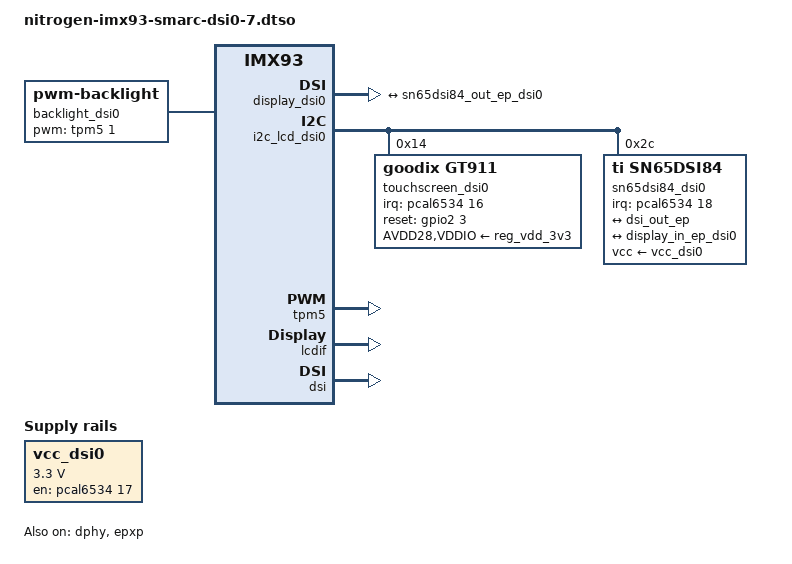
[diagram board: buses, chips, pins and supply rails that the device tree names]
// SPDX-License-Identifier: (GPL-2.0-or-later OR MIT)
/*
 * Copyright 2024 Ezurio
 */

/dts-v1/;
/plugin/;

#include <dt-bindings/gpio/gpio.h>
#include <dt-bindings/interrupt-controller/irq.h>
#include "imx93-pinfunc.h"

#include "nitrogen-imx93-bd-panel.dtsi"

&{/} {
	backlight_dsi0: backlight-dsi0 {
		brightness-levels = <0 1 2 3 4 5 6 7 8 9 10>;
		compatible = "pwm-backlight";
		default-brightness-level = <8>;

		pwms = <&tpm5 1 30000 0>;	/* 33.3 KHz */
	};

	display_dsi0: display-dsi0 {
		compatible = "panel-lvds";
		data-mapping = "vesa-24";

		backlight = <&backlight_dsi0>;

		width-mm = <150>;
		height-mm = <94>;

		panel-timing {
			BD_PANEL_TIMING
		};

		port {
			display_in_ep_dsi0: endpoint {
				remote-endpoint = <&sn65dsi84_out_ep_dsi0>;
			};
		};
	};

	vcc_dsi0: regulator-vcc-dsi0 {
		compatible = "regulator-fixed";
		regulator-name = "vcc_dsi0";
		regulator-min-microvolt = <3300000>;
		regulator-max-microvolt = <3300000>;

		gpios = <&pcal6534 17 GPIO_ACTIVE_HIGH>;
		enable-active-high;

		// This delay need to account for DSI clock startup time
		// SN65DSI84 enables PLL on enable phase and waits for it to lock on 
		// DSI clock, but this clock just started a moment ago, so it is not 
		// yet stable, as such PLL cannot lock on it.
		startup-delay-us = <30000>;
	};

	display-subsystem {
		status = "okay";
	};
};

&dsi_out_ep {
	remote-endpoint = <&sn65dsi84_in_ep_dsi0>;
};

&i2c_lcd_dsi0 {
	#address-cells = <1>;
	#size-cells = <0>;

	touchscreen_dsi0: touchscreen-dsi0@14 {
		compatible = "goodix,gt911";
		reg = <0x14>;

		AVDD28-supply = <&reg_vdd_3v3>; /* Real supply is on the display */
		VDDIO-supply = <&reg_vdd_3v3>;

		interrupts-extended = <&pcal6534 16 IRQ_TYPE_EDGE_FALLING>;
		interrupt-names = "irq";
		irq-gpios = <&pcal6534 16 (GPIO_ACTIVE_HIGH | GPIO_PULL_UP)>; /* P2_0 LCD0_BCKL_EN */

		pinctrl-names = "default";
		pinctrl-0 = <&pinctrl_touchscreen_dsi0>;
		reset-gpios = <&gpio2 3 GPIO_ACTIVE_HIGH>;

		touchscreen-min-x = <0>;
		touchscreen-min-y = <0>;
		touchscreen-size-x = <1280>;
		touchscreen-size-y = <800>;
	};

	sn65dsi84_dsi0: sn65dsi84-dsi0@2c {
		compatible = "ti,sn65dsi84";
		reg = <0x2c>;

		interrupts-extended = <&pcal6534 18 IRQ_TYPE_EDGE_FALLING>;
		interrupt-names = "irq";

		vcc-supply = <&vcc_dsi0>;

		ports {
			#address-cells = <1>;
			#size-cells = <0>;

			port@0 {
				reg = <0>;

				sn65dsi84_in_ep_dsi0: endpoint {
					remote-endpoint = <&dsi_out_ep>;
					data-lanes = <1 2 3 4>;
				};
			};

			port@2 {
				reg = <2>;

				sn65dsi84_out_ep_dsi0: endpoint {
					remote-endpoint = <&display_in_ep_dsi0>;
				};
			};
		};
	};
};

&tpm5 { /* DSI / DISP_PWM0 Backlight */
	status = "okay";
};

&lcdif {
	status = "okay";
};

&iomuxc {
	pinctrl_touchscreen_dsi0: pinctrl-touchscreen-dsi0 {
		fsl,pins = <
			MX93_PAD_GPIO_IO03__GPIO2_IO03   0x31e
		>;
	};
};

&dphy {
	status = "okay";
};

&dsi {
	status = "okay";
};

&epxp {
	status = "okay";
};

&dsi0_backlight {
	status = "disabled";
};
